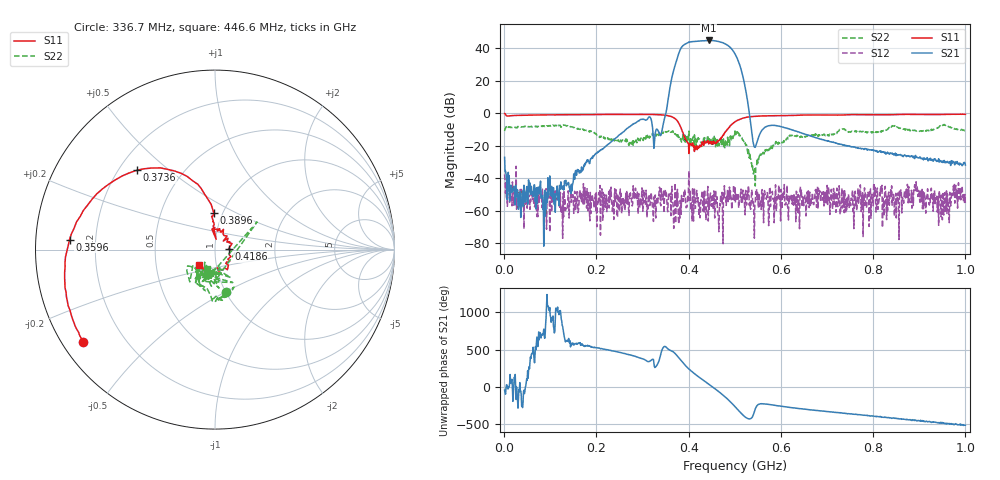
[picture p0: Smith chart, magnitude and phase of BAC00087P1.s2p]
!measured: 2026-10-29T11:15:14
!cal_instance: BB
!cal_created: 2026-10-29T10:46
!cal_file: SOLT_12_1_00M-1_00G_1001pt.cal
!port1_delay_ps: 0.0
!port2_delay_ps: 0.0
!host: lindon
! Created with skrf 2.1.0 (http://scikit-rf.org).
# Hz S RI R 50.0
!freq ReS11 ImS11 ReS21 ImS21 ReS12 ImS12 ReS22 ImS22
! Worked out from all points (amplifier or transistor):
!   1001 points, 1 MHz to 1 GHz, reference 50 ohm
!   highest |S21| = 44.7 dB at 443.6 MHz (marker M1)
!   |S21| within 3 dB of that: 388.5 MHz to 484.7 MHz (96.17 MHz wide, 22 % of centre)
!   unconditionally stable (mu >= 1): start of sweep to 399.7 MHz; 441.6 MHz to 477.4 MHz; 497.6 MHz to end of sweep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
!   at 166.8 MHz: K = 1549.52, MAG = -28.2 dB, |S12| = -49.3 dB
!   at 500.5 MHz: K = 1.14, MAG = 38.6 dB, |S12| = -45.1 dB
!   at 1 GHz: K = 1719.93, MAG = -23.2 dB, |S12| = -56.1 dB
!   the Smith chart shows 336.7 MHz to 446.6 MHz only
!   S11 on the Smith chart (normalised r, x): 336.7 MHz: 0.06, -0.31; 359.6 MHz: 0.10, +0.03; 373.6 MHz: 0.27, +0.39; 389.6 MHz: 0.91, +0.39; 418.6 MHz: 1.16, +0.01; 446.6 MHz: 0.83, -0.14
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1000000  -0.2931 0.9262  0.032 -0.03  0.0052 0.012  0.2736 -0.0672
1.67833e8  0.584 -0.6846  -0.02 -0.0099  -0.000684 0.00172  -0.00574 -0.318
3.34666e8  -0.7129 -0.5511  0.2377 -0.1238  0.00154 -0.00179  0.0618 -0.1969
3.36664e8  -0.7341 -0.5134  0.2224 0.0331  -0.00188 0.00497  0.0586 -0.2338
3.59641e8  -0.8106 0.0555  -4.143 4.723  -0.000914 -0.00294  0.00218 -0.2888
3.73627e8  -0.4336 0.4426  16.5 37.59  -0.00215 0.00302  -0.0524 -0.2114
3.83617e8  -0.0768 0.3404  99.86 -13.79  0.00078 -1.21e-05  -0.0885 -0.1113
3.89611e8  -0.0072 0.2051  80.35 -96.29  -0.00321 0.00191  -0.1521 -0.0903
4.006e8  0.00659 0.0574  -77.26 -135.9  -0.0165 0.00374  0.2344 0.1541
4.09591e8  0.0451 0.0874  -154.5 -34.49  0.000615 -0.000116  -0.0778 -0.1687
4.18582e8  0.0755 0.00372  -138.2 84.32  -0.00176 0.000673  -0.0338 -0.1644
4.31569e8  0.0411 -0.1153  -1.789 167.6  0.000614 0.000745  0.021 -0.1353
4.43557e8  -0.0593 -0.0968  136.9 103.4  -0.00207 -0.00127  -0.0109 -0.112
4.46554e8  -0.0866 -0.0856  156.9 68.29  -8.51e-05 -0.00312  -0.0457 -0.1108
4.56544e8  -0.1019 -0.0649  155.3 -62.75  -0.000222 0.000561  -0.00894 -0.1414
4.69531e8  -0.158 -0.00563  16.13 -151.7  0.0015 -0.00276  0.0713 -0.139
4.84516e8  -0.2315 0.2221  -116.8 -35.13  0.00422 -0.00186  0.0101 -0.1838
5.005e8  -0.00589 0.5484  -8.533 66.05  -0.00212 0.00511  -0.1432 -0.2445
5.2048e8  0.4929 0.5217  7.47 -4.634  -0.00323 0.000414  -0.1123 -0.063
6.67333e8  0.459 -0.7502  0.1214 0.1502  -0.000873 -0.00185  0.1232 -0.1621
8.34166e8  -0.0986 -0.8901  0.0378 -0.0432  0.00218 -0.00308  0.00185 -0.3625
1e9  -0.4803 -0.7871  -0.0225 -0.012  -0.00107 -0.00113  -0.0753 -0.285
